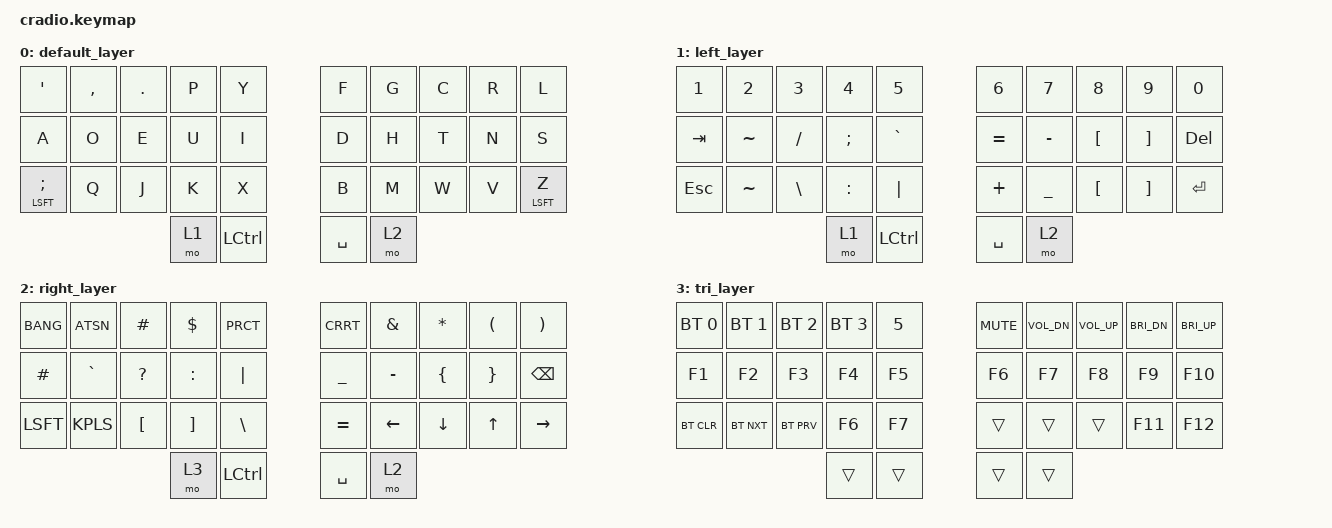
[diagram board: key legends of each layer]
/*
 * Copyright (c) 2020 The ZMK Contributors
 *
 * SPDX-License-Identifier: MIT
 */

#include <behaviors.dtsi>
#include <dt-bindings/zmk/keys.h>
#include <dt-bindings/zmk/bt.h>


&mt {
  //  flavor = "tap-preferred";
   // tapping_term_ms = <200>;
};

/ {

    combos {
        compatible = "zmk,combos";
        combo_esc {
            timeout-ms = <50>;
            key-positions = <0 1>;
            bindings = <&kp ESC>;
        };

        combo_tab {
            timeout-ms = <50>;
            key-positions = <10 11>;
            bindings = <&kp TAB>;
        };

        combo_ralt {
            timeout-ms = <50>;
            key-positions = <17 16>;
            bindings = <&kp RALT>;
        };

        combo_lalt {
            timeout-ms = <50>;
            key-positions = <11 12>;
            bindings = <&kp LALT>;
        };

        combo_lgui {
            timeout-ms = <50>;
            key-positions = <12 13>;
            bindings = <&kp LGUI>;
        };


        combo_rgui {
            timeout-ms = <50>;
            key-positions = <17 18>;
            bindings = <&kp RGUI>;
        };



        combo_enter {
            timeout-ms = <50>;
            key-positions = <18 19>;
            bindings = <&kp ENTER>;
        };


        combo_left_reset {
            timeout-ms = <50>;
            key-positions = <3 4 30 31>;
            bindings = <&reset>;
        };

        combo_right_reset {
            timeout-ms = <50>;
            key-positions = <5 6 32 33>;
            bindings = <&reset>;
        };
    };

    keymap {
        compatible = "zmk,keymap";

        default_layer {
            bindings = <

    &kp QUOT  &kp CMMA  &kp DOT   &kp P     &kp Y             &kp F     &kp G     &kp C     &kp R     &kp L
    &kp A     &kp O     &kp E     &kp U     &kp I             &kp D     &kp H     &kp T     &kp N     &kp S
    &mt LSFT SCLN &kp Q &kp J     &kp K     &kp X             &kp B     &kp M     &kp W     &kp V     &mt LSFT Z
                                  &mo 1     &kp LCTL          &kp SPC   &mo 2
            >;
        };

        left_layer {
            bindings = <
    &kp NUM_1 &kp NUM_2 &kp NUM_3 &kp NUM_4 &kp NUM_5         &kp NUM_6 &kp NUM_7 &kp NUM_8 &kp NUM_9 &kp NUM_0
    &kp TAB   &kp TILDE &kp FSLH  &kp SCLN  &kp GRAVE         &kp EQL   &kp MINUS &kp LBKT  &kp RBKT  &kp DEL
    &kp ESC   &kp TILDE &kp BSLH  &kp COLN  &kp PIPE          &kp PLUS  &kp UNDER &kp LBKT  &kp RBKT  &kp ENTER
                                  &mo 1     &kp LCTL          &kp SPC   &mo 2 
            >;
        };

        right_layer {
            bindings = <
    &kp BANG  &kp ATSN  &kp HASH  &kp DLLR  &kp PRCT          &kp CRRT  &kp AMPS  &kp ASTRK &kp LPRN  &kp RPRN
    &kp HASH  &kp GRAVE &kp QMARK &kp COLN  &kp PIPE          &kp UNDER &kp MINUS &kp LBRC  &kp RBRC  &kp BKSP
    &kp LSFT  &kp KPLS  &kp LBKT  &kp RBKT  &kp BSLH          &kp EQL   &kp LEFT  &kp DOWN  &kp UP    &kp RIGHT
                                  &mo 3     &kp LCTL          &kp SPC   &mo 2
            >;
        };

        tri_layer {
            bindings = <
    &bt BT_SEL 0  &bt BT_SEL 1  &bt BT_SEL 2  &bt BT_SEL 3  &kp NUM_5        &kp C_MUTE  &kp C_VOL_DN  &kp C_VOL_UP  &kp C_BRI_DN  &kp C_BRI_UP
    &kp F1        &kp F2        &kp F3        &kp F4        &kp F5           &kp F6      &kp F7        &kp F8        &kp F9        &kp F10
    &bt BT_CLR    &bt BT_NXT    &bt BT_PRV    &kp F6        &kp F7           &trans      &trans        &trans        &kp F11       &kp F12
                                              &trans        &trans           &trans      &trans
            >;
        };

    };
};
